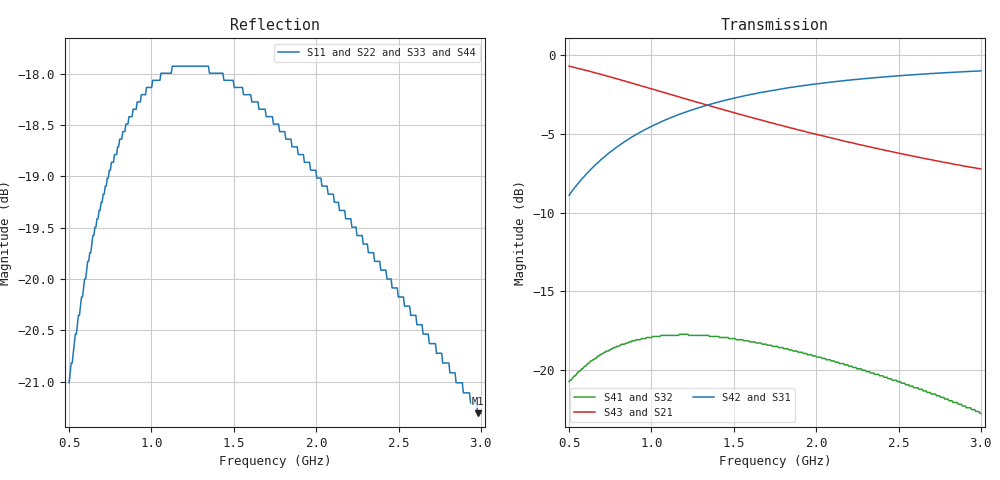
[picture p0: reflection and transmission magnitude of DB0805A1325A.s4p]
!	AVX THIN FILM OPERATION
!	0805 SIZE 3dB 90deg COUPLER P/N DB0805A1325AWTR
!	Created March 23 2003
!	Network Analyzer HP8720E S.07.64: Feb23, 2000 Serial No.US39172382
#	MHZ	S	MA	R	50
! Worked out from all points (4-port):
!   400 points, 500 MHz to 3 GHz, reference 50 ohm
!   strongest paths, dB at 500 MHz, 1.127 GHz, 1.753 GHz, 2.38 GHz, 3 GHz:
!     S42: -8.9, -3.9, -2.2, -1.4, -1.0
!     S31: -8.9, -3.9, -2.2, -1.4, -1.0
!     S43: -0.7, -2.5, -4.4, -6.0, -7.2
!     S21: -0.7, -2.5, -4.4, -6.0, -7.2
!     S41: -20.7, -17.8, -18.5, -20.3, -22.7
!     S32: -20.7, -17.8, -18.5, -20.3, -22.7
!   lowest |S11| = -21.3 dB at 2.981 GHz (marker M1), VSWR 1.19, Z = 44.5 + j6.03 ohm
!   |S11| at or under -10 dB: start of sweep to end of sweep
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500  0.089 -133.2  0.922 -22.1  0.359 66.4  0.092 46.7
     0.922 -22.1  0.089 -133.2  0.092 46.7  0.359 66.4
     0.359 66.4  0.092 46.7  0.089 -133.2  0.922 -22.1
     0.092 46.7  0.359 66.4  0.922 -22.1  0.089 -133.2
644.11  0.105 -144.3  0.882 -27.5  0.44 60.8  0.108 36.1
        0.882 -27.5  0.105 -144.3  0.108 36.1  0.44 60.8
        0.44 60.8  0.108 36.1  0.105 -144.3  0.882 -27.5
        0.108 36.1  0.44 60.8  0.882 -27.5  0.105 -144.3
819.549  0.117 -156.4  0.832 -33.3  0.524 54.8  0.121 24.6
         0.832 -33.3  0.117 -156.4  0.121 24.6  0.524 54.8
         0.524 54.8  0.121 24.6  0.117 -156.4  0.832 -33.3
         0.121 24.6  0.524 54.8  0.832 -33.3  0.117 -156.4
1345.865  0.127 175.5  0.692 -46.9  0.695 41.1  0.129 -1.9
          0.692 -46.9  0.127 175.5  0.129 -1.9  0.695 41.1
          0.695 41.1  0.129 -1.9  0.127 175.5  0.692 -46.9
          0.129 -1.9  0.695 41.1  0.692 -46.9  0.127 175.5
2097.744  0.11 149.4  0.545 -59.8  0.822 28.6  0.107 -24.7
          0.545 -59.8  0.11 149.4  0.107 -24.7  0.822 28.6
          0.822 28.6  0.107 -24.7  0.11 149.4  0.545 -59.8
          0.107 -24.7  0.822 28.6  0.545 -59.8  0.11 149.4
2981.203  0.086 128.6  0.437 -69.8  0.89 19.3  0.074 -37.5
          0.437 -69.8  0.086 128.6  0.074 -37.5  0.89 19.3
          0.89 19.3  0.074 -37.5  0.086 128.6  0.437 -69.8
          0.074 -37.5  0.89 19.3  0.437 -69.8  0.086 128.6
3000  0.086 128.2  0.435 -69.9  0.891 19.1  0.073 -37.7
      0.435 -69.9  0.086 128.2  0.073 -37.7  0.891 19.1
      0.891 19.1  0.073 -37.7  0.086 128.2  0.435 -69.9
      0.073 -37.7  0.891 19.1  0.435 -69.9  0.086 128.2
